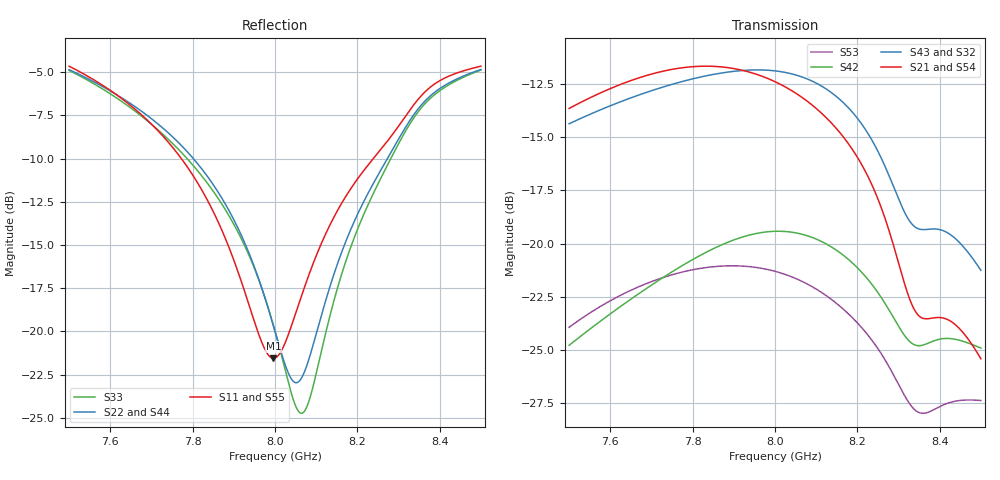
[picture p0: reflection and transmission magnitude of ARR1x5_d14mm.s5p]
! Touchstone file exported from HFSS 2025.1.0
!  File:  C:/Users/user/Documents/Ansoft/TFG_UWB-MIMO-Array.aedt
!  Generated:  02:04:18 PM Nov 20, 2026
!  Design:  ARR1x5_US3_PS6_dparam
!  Project:  TFG_UWB-MIMO-Array
!  Setup:  Setup_ch9
!  Solution:  Sweep_7p5_8p5
! Variables:
!  arr_d = 14mm
!  board_m = 13mm
!  board_x = 82mm
!  board_y = 26mm
!  cu_t = 0.035mm
!  line_w = 3.92mm
!  pad_xy = 22mm
!  pad_zn = 25mm
!  pad_zp = 33mm
!  par_L = 7.05mm
!  par_W = 11mm
!  par_yc = 0.615mm
!  par_z = 1.035mm
!  patch_L = 6.29mm
!  patch_W = 11.421266mm
!  sub_h = 2.07mm
!  tr_l = 6.6mm
!  tr_w = 0.8mm
!  u_Lu = 2.65mm
!  u_Wu = 4.4mm
!  u_t = 0.8mm
!  u_y0 = -0.7mm
# GHz S MA R 50.000000
! Terminal data exported
! Port[1] = P1
! Port[2] = P2
! Port[3] = P3
! Port[4] = P4
! Port[5] = P5
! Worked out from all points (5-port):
!   1001 points, 7.5 GHz to 8.5 GHz, reference 50 ohm
!   strongest paths, dB at 7.5 GHz, 7.75 GHz, 8 GHz, 8.25 GHz, 8.5 GHz:
!     S21: -13.6, -11.8, -12.4, -17.9, -25.4
!     S54: -13.6, -11.8, -12.4, -17.9, -25.6
!     S43: -14.4, -12.5, -11.9, -15.7, -21.3
!     S32: -14.4, -12.5, -11.9, -15.7, -21.3
!     S42: -24.8, -21.3, -19.4, -22.3, -24.9
!     S53: -23.9, -21.5, -21.3, -24.9, -27.4
!   lowest |S11| = -21.6 dB at 7.996 GHz (marker M1), VSWR 1.18, Z = 59 - j1.23 ohm
!   |S11| at or under -10 dB: 7.772 GHz to 8.239 GHz (466.4 MHz wide, 5.83 % of centre)
